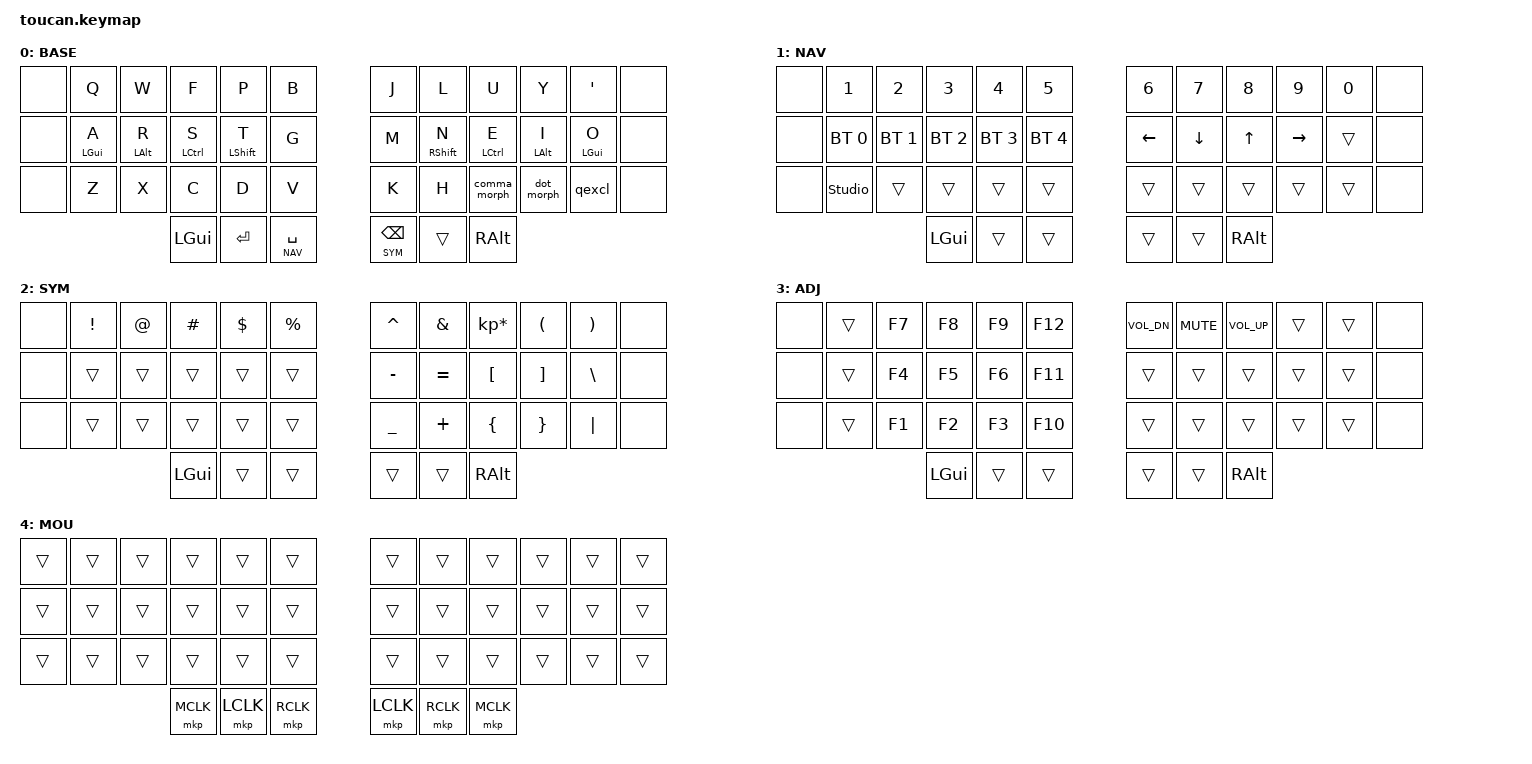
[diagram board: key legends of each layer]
#include <behaviors.dtsi>
#include <zmk-helpers/helper.h>
#include <dt-bindings/zmk/keys.h>
#include <dt-bindings/zmk/bt.h>
#include <dt-bindings/zmk/outputs.h>
#include <dt-bindings/zmk/pointing.h>

#define BASE 0
#define NAV  1
#define SYM  2
#define ADJ  3

/* urob-style behaviors (ported incrementally from urob/zmk-config) */

#define QUICK_TAP_MS 175

&sk {
    release-after-ms = <900>;
    quick-release;
};

&lt {
    flavor = "balanced";
    tapping-term-ms = <200>;
    quick-tap-ms = <QUICK_TAP_MS>;
};

/* Matrix positions: row-major (0-11 top, 12-23 home, 24-35 bottom; 36-41 thumbs). */
#define KEYS_L 0 1 2 3 4 5 12 13 14 15 16 17 24 25 26 27 28 29  // Left half.
#define KEYS_R 6 7 8 9 10 11 18 19 20 21 22 23 30 31 32 33 34 35  // Right half.
#define THUMBS 36 37 38 39 40 41

/* Home-row mods: tap = letter, hold = mod. Triggered only by the opposite hand. */
#define MAKE_HRM(NAME, HOLD, TAP, TRIGGER_POS)                                 \
    ZMK_HOLD_TAP(NAME, bindings = <HOLD>, <TAP>; flavor = "balanced";         \
                 tapping-term-ms = <280>; quick-tap-ms = <QUICK_TAP_MS>;      \
                 require-prior-idle-ms = <150>; hold-trigger-on-release;      \
                 hold-trigger-key-positions = <TRIGGER_POS>;)

MAKE_HRM(hml, &kp, &kp, KEYS_R THUMBS) // Left-hand HRMs.
MAKE_HRM(hmr, &kp, &kp, KEYS_L THUMBS) // Right-hand HRMs.

/* Combo hold-taps (urob hack): tap = symbol, hold = mod for chording. */
MAKE_HRM(hm_combo_lpar, &kp, &lpar_lt, KEYS_L THUMBS)
MAKE_HRM(hm_combo_rpar, &kp, &rpar_gt, KEYS_L THUMBS)

/* Tap: comma | Shift+tap: semicolon | Ctrl+Shift+tap: <. */
#define SIMPLE_MORPH(NAME, MOD, BINDING1, BINDING2)                            \
    ZMK_MOD_MORPH(NAME, mods = <(MOD_L##MOD | MOD_R##MOD)>;                    \
                  bindings = <BINDING1>, <BINDING2>;)

SIMPLE_MORPH(comma_morph, SFT, &kp COMMA, &comma_inner_morph)
SIMPLE_MORPH(comma_inner_morph, CTL, &kp SEMICOLON, &kp LESS_THAN)

/* Tap: dot | Shift+tap: colon | Ctrl+Shift+tap: >. */
SIMPLE_MORPH(dot_morph, SFT, &kp DOT, &dot_inner_morph)
SIMPLE_MORPH(dot_inner_morph, CTL, &kp COLON, &kp GREATER_THAN)

/* Tap: qmark | Shift+tap: excl. */
SIMPLE_MORPH(qexcl, SFT, &kp QMARK, &kp EXCL)

/* Tap: left/right paren | Shift+tap: </>. */
SIMPLE_MORPH(lpar_lt, SFT, &kp LPAR, &kp LT)
SIMPLE_MORPH(rpar_gt, SFT, &kp RPAR, &kp GT)

/ {
    combos {
        compatible = "zmk,combos";
        /* urob spots & tuning: esc LT3+LT2, bspc RT1+RT2, del RT2+RT3. */
        combo_esc {
            timeout-ms = <18>;
            key-positions = <2 3>; // W + F
            bindings = <&kp ESC>;
            layers = <0 1 2>;
            require-prior-idle-ms = <150>;
        };
        combo_bspc {
            timeout-ms = <18>;
            key-positions = <7 8>; // L + U
            bindings = <&kp BSPC>;
            layers = <0 1 2>;
            require-prior-idle-ms = <150>;
        };
        combo_del {
            timeout-ms = <18>;
            key-positions = <8 9>; // U + Y
            bindings = <&kp DEL>;
            layers = <0 1 2>;
            require-prior-idle-ms = <150>;
        };
        combo_tab {
            timeout-ms = <18>;
            key-positions = <14 15>; // R + S (urob LM3+LM2)
            bindings = <&kp TAB>;
            layers = <0 1 2>;
            require-prior-idle-ms = <150>;
        };
        /* Clipboard: cut/copy/paste on bottom row left (urob LB3+LB1 etc). */
        combo_cut {
            timeout-ms = <18>;
            key-positions = <26 28>; // X + D
            bindings = <&kp LC(X)>;
            layers = <0 1 2>;
            require-prior-idle-ms = <150>;
        };
        combo_copy {
            timeout-ms = <18>;
            key-positions = <26 27>; // X + C
            bindings = <&kp LC(INS)>;
            layers = <0 1 2>;
            require-prior-idle-ms = <150>;
        };
        combo_paste {
            timeout-ms = <18>;
            key-positions = <27 28>; // C + D
            bindings = <&kp LS(INS)>;
            layers = <0 1 2>;
            require-prior-idle-ms = <150>;
        };
        /* Brackets: [ ] on typing/number layers, { } on NAV (urob RB1+RB2 / RB2+RB3). */
        combo_lbkt {
            timeout-ms = <18>;
            key-positions = <31 32>; // H + comma
            bindings = <&kp LBKT>;
            layers = <0 1>;
            require-prior-idle-ms = <150>;
        };
        combo_rbkt {
            timeout-ms = <18>;
            key-positions = <32 33>; // comma + dot
            bindings = <&kp RBKT>;
            layers = <0 1>;
            require-prior-idle-ms = <150>;
        };
        combo_lbrc {
            timeout-ms = <18>;
            key-positions = <31 32>; // H + comma
            bindings = <&kp LBRC>;
            layers = <1>;
            require-prior-idle-ms = <150>;
        };
        combo_rbrc {
            timeout-ms = <18>;
            key-positions = <32 33>; // comma + dot
            bindings = <&kp RBRC>;
            layers = <1>;
            require-prior-idle-ms = <150>;
        };
        /* Parens: ( ) on BASE/NAV (urob RM1+RM2 / RM2+RM3). */
        combo_lpar {
            timeout-ms = <18>;
            key-positions = <19 20>; // N + E
            bindings = <&hm_combo_lpar RS(LCTRL) 0>;
            layers = <0 1>;
            require-prior-idle-ms = <150>;
        };
        combo_rpar {
            timeout-ms = <18>;
            key-positions = <20 21>; // E + I
            bindings = <&hm_combo_rpar RS(LALT) 0>;
            layers = <0 1>;
            require-prior-idle-ms = <150>;
        };
    };

    conditional_layers {
        compatible = "zmk,conditional-layers";
        tri_layer {
            if-layers = <1 2>;
            then-layer = <3>;
        };
    };

    keymap {
        compatible = "zmk,keymap";

        base {
            display-name = "BASE";
            /* urob base layer (QWF..B / JLUY..) on the inner 5 cols; outer cols stay toucan. */
            bindings = <
                &none &kp Q &kp W &kp F &kp P &kp B   &kp J &kp L &kp U &kp Y &kp SQT &none
                &none &hml LGUI A &hml LALT R &hml LCTRL S &hml LSHFT T &kp G   &kp M &hmr RSHFT N &hmr LCTRL E &hmr LALT I &hmr LGUI O &none
                &none &kp Z &kp X &kp C &kp D &kp V   &kp K &kp H &comma_morph &dot_morph &qexcl &none
                                   &kp LGUI &kp RET &lt NAV SPACE   &lt SYM BSPC &trans &kp RALT
            >;
        };

        nav {
            display-name = "NAV";
            bindings = <
                &none       &kp N1          &kp N2       &kp N3       &kp N4       &kp N5         &kp N6   &kp N7   &kp N8 &kp N9    &kp N0 &none
                &none       &bt BT_SEL 0    &bt BT_SEL 1 &bt BT_SEL 2 &bt BT_SEL 3 &bt BT_SEL 4   &kp LEFT &kp DOWN &kp UP &kp RIGHT &trans &none
                &none       &studio_unlock  &trans       &trans       &trans       &trans         &trans   &trans   &trans &trans    &trans &none
                                                &kp LGUI     &trans       &trans      &trans  &trans   &kp RALT
            >;
        };

        sym {
            display-name = "SYM";
            bindings = <
                &none &kp EXCL &kp AT &kp HASH &kp DLLR &kp PRCNT   &kp CARET &kp AMPS  &kp KP_MULTIPLY &kp LPAR &kp RPAR &none
                &none &trans   &trans &trans   &trans   &trans      &kp MINUS &kp EQUAL &kp LBKT        &kp RBKT &kp BSLH &none
                &none &trans   &trans &trans   &trans   &trans      &kp UNDER &kp PLUS  &kp LBRC        &kp RBRC &kp PIPE &none
                                          &kp LGUI &trans   &trans   &trans   &trans    &kp RALT
            >;
        };

        adj {
            display-name = "ADJ";
            bindings = <
                &none &trans &kp F7 &kp F8 &kp F9 &kp F12   &kp C_VOL_DN &kp C_MUTE  &kp C_VOL_UP &trans &trans &none
                &none &trans &kp F4 &kp F5 &kp F6 &kp F11   &trans       &trans      &trans       &trans &trans &none
                &none &trans &kp F1 &kp F2 &kp F3 &kp F10   &trans       &trans      &trans       &trans &trans &none
                                   &kp LGUI &trans &trans   &trans &trans &kp RALT
            >;
        };

        mouse {
            display-name = "MOU";
            bindings = <
                &trans &trans &trans &trans &trans &trans           &trans &trans &trans &trans &trans &trans
                &trans &trans &trans &trans &trans &trans           &trans &trans &trans &trans &trans &trans
                &trans &trans &trans &trans &trans &trans           &trans &trans &trans &trans &trans &trans
                            &mkp MCLK &mkp LCLK &mkp RCLK           &mkp LCLK &mkp RCLK &mkp MCLK
            >;
        };

        extra_2 {
                status = "reserved";
        };

        extra_3 {
                status = "reserved";
        };
    };
};
